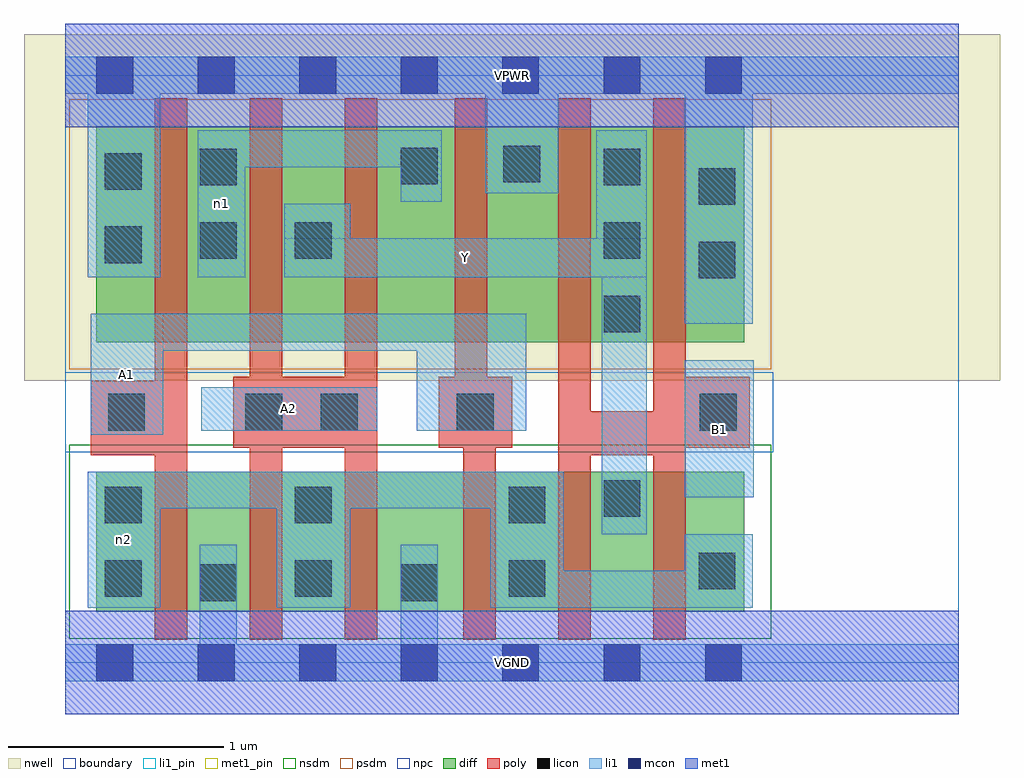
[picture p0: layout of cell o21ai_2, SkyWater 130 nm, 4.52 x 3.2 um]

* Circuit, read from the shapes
.subckt o21ai_2 A1 A2 B1 VGND VPWR Y n1 n2
XM1 VGND A1 n2 VSUBS sky130_fd_pr__nfet_01v8 w=0.65 l=0.15 m=2
XM2 n2 A2 VGND VSUBS sky130_fd_pr__nfet_01v8 w=0.65 l=0.15 m=2
XM3 Y B1 n2 VSUBS sky130_fd_pr__nfet_01v8 w=0.65 l=0.15 m=2
XM4 n1 A1 VPWR n3 sky130_fd_pr__pfet_01v8 w=1 l=0.15 m=2
XM5 Y A2 n1 n3 sky130_fd_pr__pfet_01v8 w=1 l=0.15 m=2
XM6 Y B1 VPWR n3 sky130_fd_pr__pfet_01v8 w=1 l=0.15 m=2
.ends

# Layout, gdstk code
import gdstk
lib = gdstk.Library(unit=1e-6, precision=1e-09)
def R(c, l, rs):  # rectangles x0, y0, x1, y1
    for r in rs: c.add(gdstk.rectangle(r[:2], r[2:], *l))
def A(c, l, x, y, w, h, nx, ny, dx, dy):  # array of equal rectangles
    R(c, l, [(x+i*dx, y+j*dy, x+i*dx+w, y+j*dy+h) for i in range(nx) for j in range(ny)])
nwell = (64, 20)
diff = (65, 20)
poly = (66, 20)
licon = (66, 44)
li1_pin = (67, 16)
li1 = (67, 20)
mcon = (67, 44)
met1_pin = (68, 16)
met1 = (68, 20)
nsdm = (93, 44)
psdm = (94, 20)
npc = (95, 20)
boundary = (235, 4)

o21ai_2 = lib.new_cell('o21ai_2')
R(o21ai_2, nwell, [(-0.19,1.305,4.33,2.91), (0,1.305,4.14,2.91)])
R(o21ai_2, diff, [(0.145,0.235,3.145,0.885), (0.145,1.485,3.145,2.485)])
A(o21ai_2, poly, 0.415, 0.105, 0.15, 2.51, 3, 1, 0.44, 0)
R(o21ai_2, poly, [(1.845,0.105,1.995,1.325), (2.285,0.105,2.435,2.615), (2.725,0.105,2.875,2.615), (0.12,0.96,0.565,1.305), (2.285,0.96,2.875,1.165), (0.78,0.995,1.445,1.325), (1.73,0.995,2.07,1.325), (1.805,0.995,1.955,2.615), (2.725,0.995,3.17,1.325)])
A(o21ai_2, licon, 2.495, 1.53, 0.17, 0.17, 1, 3, 0, 0.34)
R(o21ai_2, licon, [(0.625,0.285,0.795,0.455), (1.555,0.285,1.725,0.455), (0.185,0.305,0.355,0.475), (1.065,0.305,1.235,0.475), (2.055,0.305,2.225,0.475), (2.935,0.34,3.105,0.51), (0.185,0.645,0.355,0.815), (1.065,0.645,1.235,0.815), (2.055,0.645,2.225,0.815), (2.495,0.675,2.665,0.845), (0.2,1.075,0.37,1.245), (0.835,1.075,1.005,1.245), (1.185,1.075,1.355,1.245), (1.815,1.075,1.985,1.245), (2.94,1.075,3.11,1.245), (2.935,1.78,3.105,1.95), (0.185,1.85,0.355,2.02), (0.625,1.87,0.795,2.04), (1.065,1.87,1.235,2.04), (2.935,2.12,3.105,2.29), (0.185,2.19,0.355,2.36), (0.625,2.21,0.795,2.38), (1.555,2.215,1.725,2.385), (2.03,2.225,2.2,2.395)])
R(o21ai_2, li1_pin, [(2.87,0.765,3.19,1.4), (0.12,1.055,0.455,1.615), (0.63,1.075,1.445,1.275), (1.015,1.785,2.695,1.965)])
R(o21ai_2, li1, [(0,-0.085,4.14,0.085), (0.625,-0.085,0.795,0.545), (1.555,-0.085,1.725,0.545), (0.105,0.255,0.44,0.885), (0.98,0.255,1.32,0.885), (1.97,0.255,2.31,0.885), (1.97,0.255,3.185,0.425), (2.87,0.255,3.185,0.595), (2.485,0.595,2.695,2.465), (0.105,0.715,2.31,0.885), (2.87,0.765,3.19,1.4), (0.12,1.055,0.455,1.615), (0.63,1.075,1.445,1.275), (1.63,1.075,2.135,1.615), (0.12,1.445,2.135,1.615), (2.87,1.57,3.185,2.805), (0.105,1.785,0.44,2.805), (0.615,1.785,0.835,2.465), (1.015,1.785,2.695,1.965), (1.015,1.785,1.32,2.125), (2.46,1.785,2.695,2.465), (1.555,2.135,1.745,2.465), (1.945,2.175,2.285,2.805), (0.615,2.295,1.745,2.465), (0,2.635,4.14,2.805)])
A(o21ai_2, mcon, 0.145, -0.085, 0.17, 0.17, 7, 2, 0.47, 2.72)
R(o21ai_2, met1_pin, [(0,-0.24,4.14,0.24), (0,2.48,4.14,2.96)])
R(o21ai_2, met1, [(0,-0.24,4.14,0.24), (0,2.48,4.14,2.96)])
R(o21ai_2, nsdm, [(0.02,0.11,3.27,1.01)])
R(o21ai_2, psdm, [(0.02,1.36,3.27,2.61)])
R(o21ai_2, npc, [(0,0.975,3.28,1.345)])
R(o21ai_2, boundary, [(0,0,4.14,2.72)])
o21ai_2.add(gdstk.Label('A1', (0.287,1.335), layer=67, texttype=5))
o21ai_2.add(gdstk.Label('A2', (1.037,1.175), layer=67, texttype=5))
o21ai_2.add(gdstk.Label('B1', (3.03,1.082), layer=67, texttype=5))
o21ai_2.add(gdstk.Label('Y', (1.855,1.875), layer=67, texttype=5))
o21ai_2.add(gdstk.Label('n2', (0.272,0.57), layer=67, texttype=5))
o21ai_2.add(gdstk.Label('n1', (0.725,2.125), layer=67, texttype=5))
o21ai_2.add(gdstk.Label('VPWR', (2.07,2.72), layer=68, texttype=5))
o21ai_2.add(gdstk.Label('VGND', (2.07,0), layer=68, texttype=5))
o21ai_2.add(gdstk.Label('A1', (0.287,1.335), layer=67, texttype=16))
o21ai_2.add(gdstk.Label('A2', (1.037,1.175), layer=67, texttype=16))
o21ai_2.add(gdstk.Label('B1', (3.03,1.082), layer=67, texttype=16))
o21ai_2.add(gdstk.Label('Y', (1.855,1.875), layer=67, texttype=16))
o21ai_2.add(gdstk.Label('VPWR', (2.07,2.72), layer=68, texttype=16))
o21ai_2.add(gdstk.Label('VGND', (2.07,0), layer=68, texttype=16))

lib.write_gds('o21ai_2.gds')
